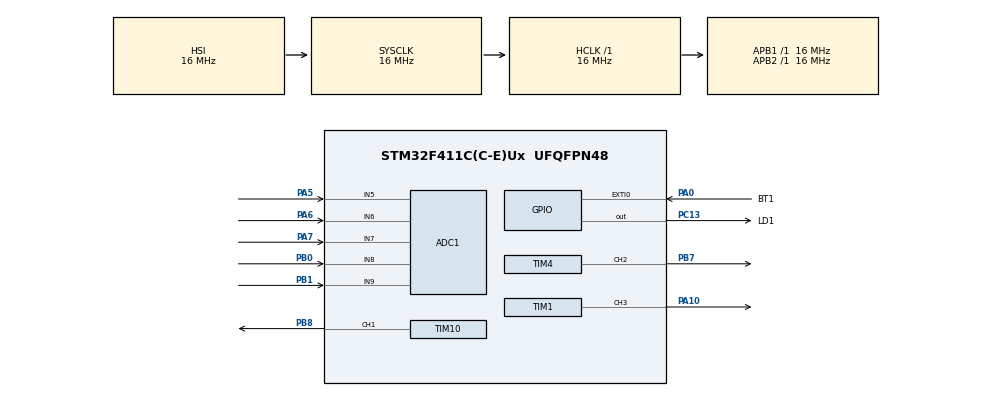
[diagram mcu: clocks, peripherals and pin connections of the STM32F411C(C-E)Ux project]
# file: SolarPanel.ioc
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Mcu.Family=STM32F4
TIM10.Prescaler=15
RCC.CortexFreq_Value=16000000
ADC1.SamplingTime-16\#ChannelRegularConversion=ADC_SAMPLETIME_480CYCLES
SH.ADCx_IN6.0=ADC1_IN6,IN6
PC13-ANTI_TAMP.GPIO_Label=LD1
ADC1.Channel-17\#ChannelRegularConversion=ADC_CHANNEL_7
ADC1.Rank-18\#ChannelRegularConversion=4
ADC1.Rank-17\#ChannelRegularConversion=3
PA0-WKUP.GPIO_ModeDefaultEXTI=GPIO_MODE_IT_FALLING
ProjectManager.StackSize=0x400
PA0-WKUP.GPIO_Label=BT1
PA0-WKUP.Signal=GPXTI0
PA13.Signal=SYS_JTMS-SWDIO
TIM1.Prescaler=15
ProjectManager.TargetToolchain=STM32CubeIDE
SH.ADCx_IN7.0=ADC1_IN7,IN7
ADC1.Channel-18\#ChannelRegularConversion=ADC_CHANNEL_6
VP_TIM10_VS_ClockSourceINT.Mode=Enable_Timer
TIM4.Prescaler=15
RCC.LSE_VALUE=32768
RCC.AHBFreq_Value=16000000
PA5.Signal=ADCx_IN5
NVIC.TIM1_TRG_COM_TIM11_IRQn=true\:10\:0\:true\:false\:true\:true\:true
RCC.HSE_VALUE=25000000
board=custom
PC13-ANTI_TAMP.Signal=GPIO_Output
RCC.VCOOutputFreq_Value=192000000
TIM10.Channel=TIM_CHANNEL_1
TIM10.Period=19999
TIM4.Channel-PWM\ Generation2\ CH2=TIM_CHANNEL_2
RCC.APB2Freq_Value=16000000
ADC1.Channel-19\#ChannelRegularConversion=ADC_CHANNEL_5
VP_TIM2_VS_ClockSourceINT.Mode=Internal
PA14.Mode=Serial_Wire
ADC1.Rank-19\#ChannelRegularConversion=5
NVIC.TIM2_IRQn=true\:0\:0\:false\:false\:true\:true\:true
SH.ADCx_IN8.0=ADC1_IN8,IN8
SH.S_TIM4_CH2.0=TIM4_CH2,PWM Generation2 CH2
PB7.Signal=S_TIM4_CH2
ADC1.Channel-16\#ChannelRegularConversion=ADC_CHANNEL_8
TIM2.Period=999
TIM4.Period=19999
ADC1.NbrOfConversion=5
PA13.Mode=Serial_Wire
ADC1.Channel-15\#ChannelRegularConversion=ADC_CHANNEL_9
Mcu.Name=STM32F411C(C-E)Ux
VP_TIM1_VS_ClockSourceINT.Mode=Internal
ADC1.Rank-15\#ChannelRegularConversion=1
NVIC.EXTI0_IRQn=true\:2\:0\:true\:false\:true\:true\:true
RCC.SYSCLKFreq_VALUE=16000000
ADC1.Rank-16\#ChannelRegularConversion=2
Mcu.Package=UFQFPN48
TIM2.Prescaler=15999
PA6.Signal=ADCx_IN6
PB1.Signal=ADCx_IN9
ADC1.master=1
SH.S_TIM10_CH1.0=TIM10_CH1,PWM Generation1 CH1
PA10.Signal=S_TIM1_CH3
PA14.Signal=SYS_JTCK-SWCLK
ProjectManager.HeapSize=0x200
ADC1.SamplingTime-17\#ChannelRegularConversion=ADC_SAMPLETIME_480CYCLES
SH.S_TIM1_CH3.0=TIM1_CH3,PWM Generation3 CH3
SH.ADCx_IN9.0=ADC1_IN9,IN9
NVIC.TIM1_UP_TIM10_IRQn=true\:10\:0\:true\:false\:true\:true\:true
RCC.HSI_VALUE=16000000
SH.ADCx_IN5.0=ADC1_IN5,IN5
VP_TIM4_VS_ClockSourceINT.Mode=Internal
NVIC.PriorityGroup=NVIC_PRIORITYGROUP_4
ADC1.NbrOfConversionFlag=1
ADC1.SamplingTime-15\#ChannelRegularConversion=ADC_SAMPLETIME_480CYCLES
PB8.Signal=S_TIM10_CH1
PA0-WKUP.GPIO_PuPd=GPIO_PULLUP
TIM1.Period=19999
TIM1.Channel-PWM\ Generation3\ CH3=TIM_CHANNEL_3
NVIC.TIM4_IRQn=true\:10\:0\:true\:false\:true\:true\:true
RCC.APB1Freq_Value=16000000
PB0.Signal=ADCx_IN8
ADC1.SamplingTime-18\#ChannelRegularConversion=ADC_SAMPLETIME_480CYCLES
ADC1.SamplingTime-19\#ChannelRegularConversion=ADC_SAMPLETIME_480CYCLES
PA7.Signal=ADCx_IN7

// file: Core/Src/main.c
/* USER CODE BEGIN Header */
/**
  ******************************************************************************
  * @file           : main.c
  * @brief          : Main program body
  ******************************************************************************
  * @attention
  *
  * <h2><center>&copy; Copyright (c) 2022 STMicroelectronics.
  * All rights reserved.</center></h2>
  *
  * This software component is licensed by ST under BSD 3-Clause license,
  * the "License"; You may not use this file except in compliance with the
  * License. You may obtain a copy of the License at:
  *                        opensource.org/licenses/BSD-3-Clause
  *
  ******************************************************************************
  */
/* USER CODE END Header */
#include "main.h"
#include "adc.h"
#include "tim.h"
#include "gpio.h"

/* USER CODE BEGIN Includes */
#include <stdio.h>
#include <stdbool.h>
#include "servo.h"
/* USER CODE END Includes */

/* USER CODE BEGIN PM */

#define NUMBER_OF_PHOTORESISTORS 5

#define DELAY_BETWEEN_MEASURMENT 1000
// In degrees * 10
#define ANGLE_STEP 100

/* USER CODE END PM */

void SystemClock_Config(void);

/* USER CODE BEGIN 0 */
const float ANGLE_BETWEEN_PHOTORESISTORS = 22.5;
volatile int secAfterLastMeasurment = 0;
int currentPos = 0;
int lastPos = 0;
bool calibrated = false;

struct Measurment{
  	int readings[NUMBER_OF_PHOTORESISTORS];
  	int sum;
	};

	// create 2 instances of Measurment
	struct Measurment Last;
	struct Measurment AtNewPosiotion;

	int arr[NUMBER_OF_PHOTORESISTORS];// ADC pins
    // PA5
    // PA6
    // PA7
    // PB0
    // PB1

    int measure() {
    	HAL_ADC_Start(&hadc1);
    	HAL_ADC_PollForConversion(&hadc1, HAL_MAX_DELAY);
    	return HAL_ADC_GetValue(&hadc1);
    }

    void sumReadings(struct Measurment* measurment) {
        	measurment -> sum = 0;

        	for(int i = 0; i < NUMBER_OF_PHOTORESISTORS; i++) {
        		measurment -> sum += measurment -> readings[i];
        	}
        }

    void getAllReadings(struct Measurment* measurment) {
    	// clear readings
    		for(int i = 0; i < NUMBER_OF_PHOTORESISTORS; i++) {
    					measurment -> readings[i] = 0;
    				}

			for(int i = 0; i < NUMBER_OF_PHOTORESISTORS; i++) {
				measurment -> readings[i] = measure();
			}
       }

    void setAngleSmoothly(uint16_t ang, uint8_t servoIdentifier) {

    	if (ang > lastPos) {
    		for(int i = lastPos; i < ang; i += ANGLE_STEP / 10) {
    			setAngle(i, servoIdentifier);
    			HAL_Delay(50);
    		}
    	}
    	else {
    		for(int i = lastPos; i >= ang; i -= ANGLE_STEP / 10) {
    			setAngle(i, servoIdentifier);
    			HAL_Delay(50);
    		}
    	}

    	lastPos = ang;
    }

    int findBestYAngle(struct Measurment* measurment) {
    	int best = 0;
    	int second = 0;

    	// find best 2 positions
        	for(int i = 0; i < NUMBER_OF_PHOTORESISTORS; i++) {
        		if (measurment -> readings[i] > best) {
        			best = i;
        		}
        	}

        	for(int i = 0; i < NUMBER_OF_PHOTORESISTORS; i++) {
        		if (i == best)
        			continue;
        		if (measurment -> readings[i] > best)
        			second = i;
        	}

        // calculate mean of its positions
        	best *= ANGLE_BETWEEN_PHOTORESISTORS;
        	second *= ANGLE_BETWEEN_PHOTORESISTORS;

        	int angle =  10 * (best + second) / 2;

        	if (angle > ANGLE_MAX / 2)
        		return angle;

        	return ANGLE_MAX - ANGLE_MAX / 4;
        }

    void findNewPosition() {

		while(1) {
		  getAllReadings(&Last);
		  sumReadings(&Last);
		  HAL_Delay(DELAY_BETWEEN_MEASURMENT);

		  setAngle(currentPos + ANGLE_STEP, MEAS_SERVO);
		  getAllReadings(&AtNewPosiotion);
		  sumReadings(&AtNewPosiotion);
		  HAL_Delay(DELAY_BETWEEN_MEASURMENT);

		  if(AtNewPosiotion.sum < Last.sum){
			  // wróć na starą pozycję
			  setAngle(currentPos, MEAS_SERVO);
			  setAngleSmoothly(currentPos, X_SERVO);
			  HAL_Delay(DELAY_BETWEEN_MEASURMENT);
			  setAngle(findBestYAngle(&Last), Y_SERVO);

			  break;
			  }
		  currentPos += ANGLE_STEP;
		}
    }

    // function to get number of measure servo position
    int getMeasPositionNumber() {
    	int counter = 0;
    	for(int i = ANGLE_MIN; i <= ANGLE_MAX; i+= ANGLE_STEP) counter++;
    	return counter;
	 }

    void calibrate() {

    	struct Measurment meas[getMeasPositionNumber()];
    	int counter = 0;

    	for(int i = ANGLE_MIN; i <= ANGLE_MAX; i+= ANGLE_STEP) {
	  		  setAngle(i, MEAS_SERVO);
	  		  getAllReadings(&meas[counter]);
	  		  sumReadings(&meas[counter]);
	  		  HAL_Delay(DELAY_BETWEEN_MEASURMENT);
	  		  counter++;
	  	 }

    	// find biggest sum
    	int bestResult = 0;
    	for(int i = 1; i <= counter - 1; i++) {
		  if (meas[bestResult].sum < meas[i].sum) bestResult = i;
    	}

    	HAL_Delay(DELAY_BETWEEN_MEASURMENT);
    	currentPos = bestResult * ANGLE_STEP;

    	setAngleSmoothly(currentPos, X_SERVO);
    	HAL_Delay(DELAY_BETWEEN_MEASURMENT);
    	setAngle(currentPos, MEAS_SERVO);

    	setAngle(findBestYAngle(&meas[bestResult]), Y_SERVO);
    }

/* USER CODE END 0 */

int main(void)
{

  /* MCU Configuration--------------------------------------------------------*/

  /* Reset of all peripherals, Initializes the Flash interface and the Systick. */
  HAL_Init();

  /* Configure the system clock */
  SystemClock_Config();

  /* Initialize all configured peripherals */
  MX_GPIO_Init();
  MX_ADC1_Init();
  MX_TIM1_Init();
  MX_TIM4_Init();
  MX_TIM10_Init();
  MX_TIM2_Init();
  /* USER CODE BEGIN 2 */
  // timer do odliczania czasu przerwania
  HAL_TIM_Base_Start_IT(&htim2);

  	// X servo
    HAL_TIM_PWM_Start(&htim10, 	TIM_CHANNEL_1); // PB8

    // Y servo
    HAL_TIM_PWM_Start(&htim4, 	TIM_CHANNEL_2); // PB7
    // od 900 do max

    // Measurment servo
    HAL_TIM_PWM_Start(&htim1, 	TIM_CHANNEL_3); // PA10

    calibrate();

  /* USER CODE END 2 */

  /* Infinite loop */
  /* USER CODE BEGIN WHILE */
  while (1)
  {
	  if (secAfterLastMeasurment >= 45) {
	  			findNewPosition();
	  			secAfterLastMeasurment = 0;
	  		}
	  // ----------------------------------- Poruszanie 2 serwami -----------------------------------------

//	  	setAngleSmoothly(ANGLE_MIN + 9 * ANGLE_STEP, X_SERVO);
//	  	HAL_Delay(2000);
//	  	setAngle(ANGLE_MIN + ANGLE_STEP, X_SERVO);
//	  		  	HAL_Delay(2000);

    /* USER CODE END WHILE */

  }
}

void SystemClock_Config(void)
{
  RCC_OscInitTypeDef RCC_OscInitStruct = {0};
  RCC_ClkInitTypeDef RCC_ClkInitStruct = {0};

  /** Configure the main internal regulator output voltage
  */
  __HAL_RCC_PWR_CLK_ENABLE();
  __HAL_PWR_VOLTAGESCALING_CONFIG(PWR_REGULATOR_VOLTAGE_SCALE1);
  /** Initializes the RCC Oscillators according to the specified parameters
  * in the RCC_OscInitTypeDef structure.
  */
  RCC_OscInitStruct.OscillatorType = RCC_OSCILLATORTYPE_HSI;
  RCC_OscInitStruct.HSIState = RCC_HSI_ON;
  RCC_OscInitStruct.HSICalibrationValue = RCC_HSICALIBRATION_DEFAULT;
  RCC_OscInitStruct.PLL.PLLState = RCC_PLL_NONE;
  if (HAL_RCC_OscConfig(&RCC_OscInitStruct) != HAL_OK)
  {
    Error_Handler();
  }
  /** Initializes the CPU, AHB and APB buses clocks
  */
  RCC_ClkInitStruct.ClockType = RCC_CLOCKTYPE_HCLK|RCC_CLOCKTYPE_SYSCLK
                              |RCC_CLOCKTYPE_PCLK1|RCC_CLOCKTYPE_PCLK2;
  RCC_ClkInitStruct.SYSCLKSource = RCC_SYSCLKSOURCE_HSI;
  RCC_ClkInitStruct.AHBCLKDivider = RCC_SYSCLK_DIV1;
  RCC_ClkInitStruct.APB1CLKDivider = RCC_HCLK_DIV1;
  RCC_ClkInitStruct.APB2CLKDivider = RCC_HCLK_DIV1;

  if (HAL_RCC_ClockConfig(&RCC_ClkInitStruct, FLASH_LATENCY_0) != HAL_OK)
  {
    Error_Handler();
  }
}

/* USER CODE BEGIN 4 */

void HAL_GPIO_EXTI_Callback(uint16_t GPIO_Pin)
    {
      if (GPIO_Pin == BT1_Pin) {
    	  calibrate();
    	  HAL_Delay(3000);
      }
    }

void HAL_TIM_PeriodElapsedCallback(TIM_HandleTypeDef *htim)
{
	if (htim == &htim2) {
		++secAfterLastMeasurment;
	}
}

/* USER CODE END 4 */

void Error_Handler(void)
{
  __disable_irq();
  while (1)
  {
  }
}

/************************ (C) COPYRIGHT STMicroelectronics *****END OF FILE****/
